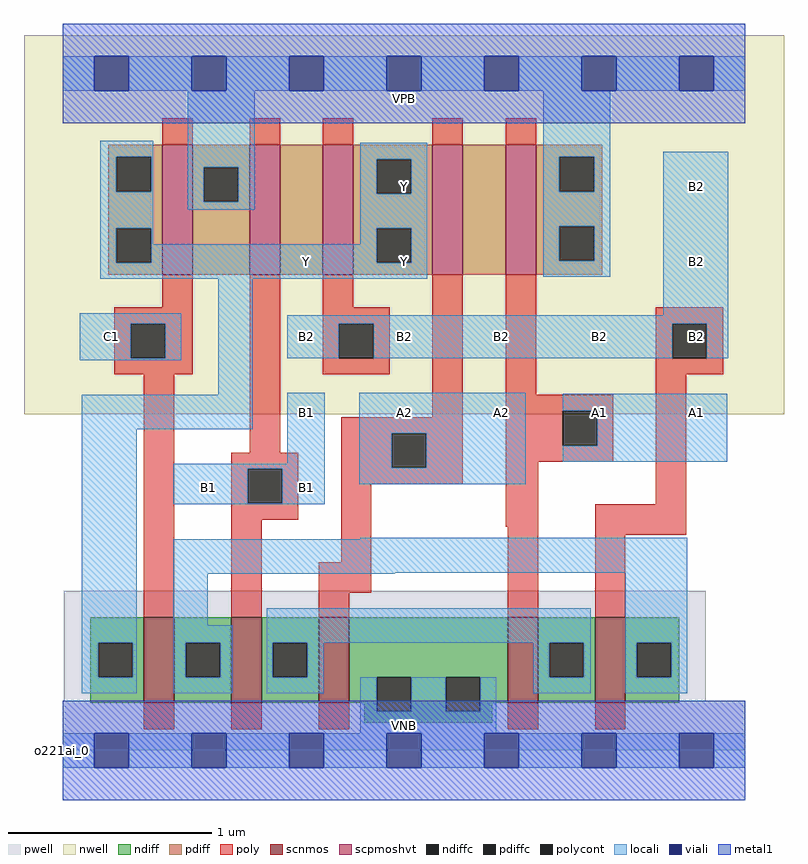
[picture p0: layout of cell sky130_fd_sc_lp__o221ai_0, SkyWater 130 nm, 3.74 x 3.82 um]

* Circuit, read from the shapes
.subckt sky130_fd_sc_lp__o221ai_0 A1 A2 B1 B2 C1 VGND VNB VPB VPWR Y
XM1 n1 C1 Y VNB sky130_fd_pr__nfet_01v8 w=0.42 l=0.15
XM2 n2 B1 n1 VNB sky130_fd_pr__nfet_01v8 w=0.42 l=0.15
XM3 VGND A2 n2 VNB sky130_fd_pr__nfet_01v8 w=0.42 l=0.15
XM4 n2 A1 VGND VNB sky130_fd_pr__nfet_01v8 w=0.42 l=0.15
XM5 n1 B2 n2 VNB sky130_fd_pr__nfet_01v8 w=0.42 l=0.15
XM6 VPWR C1 Y VPB sky130_fd_pr__pfet_01v8_hvt w=0.64 l=0.15
XM7 n3 B1 VPWR VPB sky130_fd_pr__pfet_01v8_hvt w=0.64 l=0.15
XM8 Y B2 n3 VPB sky130_fd_pr__pfet_01v8_hvt w=0.64 l=0.15
XM9 n4 A2 Y VPB sky130_fd_pr__pfet_01v8_hvt w=0.64 l=0.15
XM10 VPWR A1 n4 VPB sky130_fd_pr__pfet_01v8_hvt w=0.64 l=0.15
.ends

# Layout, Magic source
magic
tech sky130A
magscale 1 2
<< nwell >>
rect -38 331 710 704
<< pwell >>
rect 1 49 633 157
rect 0 0 672 49
<< scnmos >>
rect 80 47 110 131
rect 166 47 196 131
rect 252 47 282 131
rect 438 47 468 131
rect 524 47 554 131
<< scpmoshvt >>
rect 98 468 128 596
rect 184 468 214 596
rect 256 468 286 596
rect 364 468 394 596
rect 436 468 466 596
<< ndiff >>
rect 27 106 80 131
rect 27 72 35 106
rect 69 72 80 106
rect 27 47 80 72
rect 110 106 166 131
rect 110 72 121 106
rect 155 72 166 106
rect 110 47 166 72
rect 196 106 252 131
rect 196 72 207 106
rect 241 72 252 106
rect 196 47 252 72
rect 282 72 438 131
rect 282 47 309 72
rect 297 38 309 47
rect 343 38 377 72
rect 411 47 438 72
rect 468 106 524 131
rect 468 72 479 106
rect 513 72 524 106
rect 468 47 524 72
rect 554 106 607 131
rect 554 72 565 106
rect 599 72 607 106
rect 554 47 607 72
rect 411 38 423 47
rect 297 27 423 38
<< pdiff >>
rect 45 584 98 596
rect 45 550 53 584
rect 87 550 98 584
rect 45 514 98 550
rect 45 480 53 514
rect 87 480 98 514
rect 45 468 98 480
rect 128 574 184 596
rect 128 540 139 574
rect 173 540 184 574
rect 128 468 184 540
rect 214 468 256 596
rect 286 582 364 596
rect 286 548 309 582
rect 343 548 364 582
rect 286 514 364 548
rect 286 480 309 514
rect 343 480 364 514
rect 286 468 364 480
rect 394 468 436 596
rect 466 584 531 596
rect 466 550 489 584
rect 523 550 531 584
rect 466 516 531 550
rect 466 482 489 516
rect 523 482 531 516
rect 466 468 531 482
<< ndiffc >>
rect 35 72 69 106
rect 121 72 155 106
rect 207 72 241 106
rect 309 38 343 72
rect 377 38 411 72
rect 479 72 513 106
rect 565 72 599 106
<< pdiffc >>
rect 53 550 87 584
rect 53 480 87 514
rect 139 540 173 574
rect 309 548 343 582
rect 309 480 343 514
rect 489 550 523 584
rect 489 482 523 516
<< poly >>
rect 98 596 128 622
rect 184 596 214 622
rect 256 596 286 622
rect 364 596 394 622
rect 436 596 466 622
rect 98 436 128 468
rect 51 420 128 436
rect 51 386 67 420
rect 101 386 128 420
rect 51 370 128 386
rect 80 131 110 370
rect 184 293 214 468
rect 256 436 286 468
rect 256 420 322 436
rect 256 386 272 420
rect 306 386 322 420
rect 256 370 322 386
rect 364 328 394 468
rect 274 312 394 328
rect 166 277 232 293
rect 166 243 182 277
rect 216 243 232 277
rect 166 227 232 243
rect 274 278 324 312
rect 358 278 394 312
rect 274 262 394 278
rect 436 350 466 468
rect 584 420 650 436
rect 584 386 600 420
rect 634 386 650 420
rect 584 370 650 386
rect 436 334 542 350
rect 436 300 492 334
rect 526 300 542 334
rect 436 284 542 300
rect 166 131 196 227
rect 274 185 304 262
rect 436 220 468 284
rect 584 242 614 370
rect 252 155 304 185
rect 252 131 282 155
rect 438 131 468 220
rect 524 212 614 242
rect 524 131 554 212
rect 80 21 110 47
rect 166 21 196 47
rect 252 21 282 47
rect 438 21 468 47
rect 524 21 554 47
<< polycont >>
rect 67 386 101 420
rect 272 386 306 420
rect 182 243 216 277
rect 324 278 358 312
rect 600 386 634 420
rect 492 300 526 334
<< locali >>
rect 0 649 31 683
rect 65 649 127 683
rect 161 649 223 683
rect 257 649 319 683
rect 353 649 415 683
rect 449 649 511 683
rect 545 649 607 683
rect 641 649 672 683
rect 37 584 89 600
rect 37 550 53 584
rect 87 550 89 584
rect 37 514 89 550
rect 123 574 189 649
rect 123 540 139 574
rect 173 540 189 574
rect 123 532 189 540
rect 293 582 359 598
rect 293 548 309 582
rect 343 548 359 582
rect 37 480 53 514
rect 87 498 89 514
rect 293 514 359 548
rect 293 498 309 514
rect 87 480 309 498
rect 343 480 359 514
rect 37 464 359 480
rect 473 584 539 649
rect 473 550 489 584
rect 523 550 539 584
rect 473 516 539 550
rect 473 482 489 516
rect 523 482 539 516
rect 473 466 539 482
rect 17 420 117 430
rect 17 386 67 420
rect 101 386 117 420
rect 17 384 117 386
rect 153 350 187 464
rect 591 428 655 589
rect 221 420 655 428
rect 221 386 272 420
rect 306 386 600 420
rect 634 386 655 420
rect 19 316 187 350
rect 19 106 73 316
rect 221 282 258 352
rect 109 277 258 282
rect 109 243 182 277
rect 216 243 258 277
rect 292 312 456 352
rect 292 278 324 312
rect 358 278 456 312
rect 492 334 654 351
rect 526 300 654 334
rect 492 284 654 300
rect 292 262 456 278
rect 109 242 258 243
rect 293 208 615 209
rect 19 72 35 106
rect 69 72 73 106
rect 19 56 73 72
rect 109 175 615 208
rect 109 174 327 175
rect 109 123 143 174
rect 109 106 167 123
rect 109 72 121 106
rect 155 72 167 106
rect 109 56 167 72
rect 201 106 520 140
rect 201 72 207 106
rect 241 72 257 106
rect 463 72 479 106
rect 513 72 520 106
rect 201 56 257 72
rect 293 38 309 72
rect 343 38 377 72
rect 411 38 427 72
rect 463 56 520 72
rect 554 106 615 175
rect 554 72 565 106
rect 599 72 615 106
rect 554 56 615 72
rect 293 17 427 38
rect 0 -17 31 17
rect 65 -17 127 17
rect 161 -17 223 17
rect 257 -17 319 17
rect 353 -17 415 17
rect 449 -17 511 17
rect 545 -17 607 17
rect 641 -17 672 17
<< viali >>
rect 31 649 65 683
rect 127 649 161 683
rect 223 649 257 683
rect 319 649 353 683
rect 415 649 449 683
rect 511 649 545 683
rect 607 649 641 683
rect 31 -17 65 17
rect 127 -17 161 17
rect 223 -17 257 17
rect 319 -17 353 17
rect 415 -17 449 17
rect 511 -17 545 17
rect 607 -17 641 17
<< metal1 >>
rect 0 683 672 715
rect 0 649 31 683
rect 65 649 127 683
rect 161 649 223 683
rect 257 649 319 683
rect 353 649 415 683
rect 449 649 511 683
rect 545 649 607 683
rect 641 649 672 683
rect 0 617 672 649
rect 0 17 672 49
rect 0 -17 31 17
rect 65 -17 127 17
rect 161 -17 223 17
rect 257 -17 319 17
rect 353 -17 415 17
rect 449 -17 511 17
rect 545 -17 607 17
rect 641 -17 672 17
rect 0 -49 672 -17
<< labels >>
flabel pwell s 0 0 672 49 0 FreeSans 200 0 0 0 VNB
port 7 nsew ground bidirectional
flabel nwell s 0 617 672 666 0 FreeSans 200 0 0 0 VPB
port 8 nsew power bidirectional
rlabel comment s 0 0 0 0 4 o221ai_0
flabel metal1 s 0 617 672 666 0 FreeSans 340 0 0 0 VPWR
port 9 nsew power bidirectional
flabel metal1 s 0 0 672 49 0 FreeSans 340 0 0 0 VGND
port 6 nsew ground bidirectional
flabel locali s 511 316 545 350 0 FreeSans 340 0 0 0 A1
port 1 nsew signal input
flabel locali s 607 316 641 350 0 FreeSans 340 0 0 0 A1
port 1 nsew signal input
flabel locali s 415 316 449 350 0 FreeSans 340 0 0 0 A2
port 2 nsew signal input
flabel locali s 223 464 257 498 0 FreeSans 340 0 0 0 Y
port 10 nsew signal output
flabel locali s 319 464 353 498 0 FreeSans 340 0 0 0 Y
port 10 nsew signal output
flabel locali s 223 242 257 276 0 FreeSans 340 0 0 0 B1
port 3 nsew signal input
flabel locali s 31 390 65 424 0 FreeSans 340 0 0 0 C1
port 5 nsew signal input
flabel locali s 319 390 353 424 0 FreeSans 340 0 0 0 B2
port 4 nsew signal input
flabel locali s 511 390 545 424 0 FreeSans 340 0 0 0 B2
port 4 nsew signal input
flabel locali s 415 390 449 424 0 FreeSans 340 0 0 0 B2
port 4 nsew signal input
flabel locali s 223 390 257 424 0 FreeSans 340 0 0 0 B2
port 4 nsew signal input
flabel locali s 607 538 641 572 0 FreeSans 340 0 0 0 B2
port 4 nsew signal input
flabel locali s 607 464 641 498 0 FreeSans 340 0 0 0 B2
port 4 nsew signal input
flabel locali s 319 538 353 572 0 FreeSans 340 0 0 0 Y
port 10 nsew signal output
flabel locali s 319 316 353 350 0 FreeSans 340 0 0 0 A2
port 2 nsew signal input
flabel locali s 127 242 161 276 0 FreeSans 340 0 0 0 B1
port 3 nsew signal input
flabel locali s 223 316 257 350 0 FreeSans 340 0 0 0 B1
port 3 nsew signal input
flabel locali s 607 390 641 424 0 FreeSans 340 0 0 0 B2
port 4 nsew signal input
<< properties >>
string LEFsite unit
string LEFclass CORE
string FIXED_BBOX 0 0 672 666
string GDS_FILE $PDKPATH/libs.ref/sky130_fd_sc_lp/gds/sky130_fd_sc_lp.gds
string LEFsymmetry X Y R90
string GDS_END 5833224
string GDS_START 5825758
<< end >>
